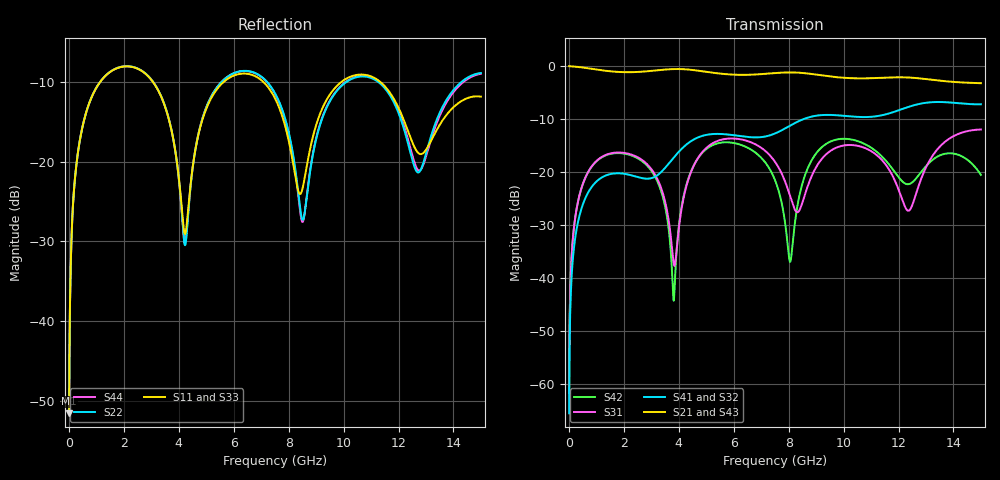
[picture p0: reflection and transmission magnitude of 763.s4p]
! Created with skrf 1.8.0 (http://scikit-rf.org).
# GHz S RI R 50.0
!freq ReS11 ImS11 ReS12 ImS12 ReS13 ImS13
! ReS14 ImS14
! ReS21 ImS21 ReS22 ImS22 ReS23 ImS23
! ReS24 ImS24
! ReS31 ImS31 ReS32 ImS32 ReS33 ImS33
! ReS34 ImS34
! ReS41 ImS41 ReS42 ImS42 ReS43 ImS43
! ReS44 ImS44
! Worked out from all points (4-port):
!   2499 points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, 5 MHz to 15 GHz, reference 50 ohm
!   strongest paths, dB at 5 MHz, 3.476 GHz, 7.19 GHz, 11.1 GHz, 15 GHz:
!     S21: 0.0, -0.7, -1.4, -2.3, -3.2
!     S43: 0.0, -0.7, -1.4, -2.3, -3.2
!     S41: -65.5, -19.3, -13.2, -9.5, -7.2
!     S32: -65.5, -19.3, -13.3, -9.6, -7.2
!     S31: -61.6, -25.1, -16.2, -16.4, -12.0
!     S42: -61.6, -25.9, -18.5, -15.7, -20.5
!   lowest |S11| = -51.5 dB at 5 MHz (marker M1), VSWR 1.01, Z = 50.2 + j0.162 ohm
!   |S11| at or under -10 dB: 3.049 GHz to 5.648 GHz (2.599 GHz wide, 59.8 % of centre); 7.066 GHz to 9.936 GHz (2.87 GHz wide, 33.8 % of centre); 11.32 GHz to end of sweep (the widest 3 of 4)
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0.005  0.00212 0.00161  0.9978 -0.00412  0.000108 0.000827  -0.000105 -0.000522
       0.9978 -0.00412  0.00212 0.00161  -0.000105 -0.000522  0.000108 0.000827
       0.000108 0.000827  -0.000105 -0.000522  0.00212 0.00161  0.9978 -0.00412
       -0.000105 -0.000522  0.000108 0.000827  0.9978 -0.00412  0.00212 0.00161
1.3193  0.3001 0.1647  0.481 -0.765  0.1365 0.0474  -0.0924 0.00479
        0.481 -0.765  0.3014 0.1635  -0.0923 0.00469  0.1332 0.0528
        0.1365 0.0474  -0.0923 0.00469  0.3001 0.1646  0.4811 -0.765
        -0.0924 0.00479  0.1332 0.0528  0.4811 -0.765  0.3013 0.1636
4.195498  0.0349 -0.0104  -0.9302 -0.0819  0.00143 0.0608  -0.0102 0.1744
          -0.9302 -0.0819  0.0296 -0.0111  -0.0117 0.1743  0.00216 0.0631
          0.00143 0.0608  -0.0117 0.1743  0.0344 -0.00937  -0.9302 -0.0818
          -0.0102 0.1744  0.00216 0.0631  -0.9302 -0.0818  0.0299 -0.0102
6.227595  0.3522 0.0309  -0.178 0.8074  0.1906 -0.0739  0.2166 -0.0313
          -0.178 0.8074  0.3661 0.0232  0.2162 -0.0287  0.1802 -0.0256
          0.1906 -0.0739  0.2162 -0.0287  0.3527 0.0314  -0.1787 0.8073
          0.2166 -0.0313  0.1802 -0.0256  -0.1787 0.8073  0.3656 0.0232
8.459775  0.0631 0.0104  0.851 0.1423  -0.0268 0.04  0.04 -0.3074
          0.851 0.1423  0.0427 -0.0163  0.045 -0.3066  0.036 0.0617
          -0.0268 0.04  0.045 -0.3066  0.0632 0.0137  0.8509 0.1431
          0.04 -0.3074  0.036 0.0617  0.8509 0.1431  0.0415 -0.0139
11.20467  0.316 -0.0842  -0.1413 -0.7588  0.0599 -0.132  -0.3194 0.1064
          -0.1413 -0.7588  0.3087 -0.0833  -0.3211 0.0981  0.0582 -0.1445
          0.0599 -0.132  -0.3211 0.0981  0.3222 -0.0857  -0.1366 -0.7578
          -0.3194 0.1064  0.0582 -0.1445  -0.1366 -0.7578  0.3138 -0.0804
15  0.2534 0.0238  -0.1345 0.6765  0.0961 -0.2333  0.4338 0.0464
    -0.1345 0.6765  0.3569 0.0236  0.4307 0.0612  0.0688 -0.0642
    0.0961 -0.2333  0.4307 0.0612  0.2532 0.0189  -0.143 0.676
    0.4338 0.0464  0.0688 -0.0642  -0.143 0.676  0.3526 0.0298
